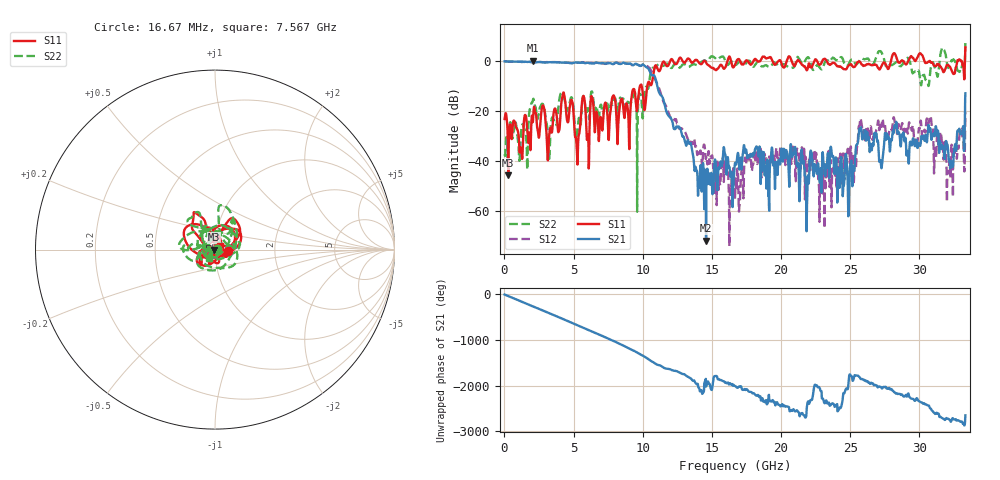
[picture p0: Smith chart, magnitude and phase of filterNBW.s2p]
# MHz MA S R 50.0
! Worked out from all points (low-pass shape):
!   2000 points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, 16.67 MHz to 33.33 GHz, reference 50 ohm
!   highest |S21| = 0.32 dB at 2.083 GHz (marker M1); lowest = -71.8 dB at 14.58 GHz (marker M2)
!   |S21| within 3 dB of the highest: start of sweep to 10.38 GHz
!   lowest |S11| = -45.6 dB at 283.3 MHz (marker M3), VSWR 1.01, Z = 49.5 + j0.0281 ohm
!   |S11| at or under -10 dB: start of sweep to 9.792 GHz; 9.936 GHz to 10.33 GHz (394.2 MHz wide, 3.89 % of centre)
!   |S22| runs from -60.2 to 8.4 dB; largest |S21 - S12| = 0.18
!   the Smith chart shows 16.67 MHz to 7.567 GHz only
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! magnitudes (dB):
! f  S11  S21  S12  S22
! 16.67 MHz  -23.1  0.0  0.0  -37.1
! 283.3 MHz  -45.6  -0.1  -0.1  -33.6
! 1.583 GHz  -22.7  -0.2  -0.2  -30.7
! 2.083 GHz  -22.3  0.3  0.5  -15.1
! 3.217 GHz  -31.7  -0.4  -0.3  -35.2
! 4.267 GHz  -12.4  -0.5  -0.4  -13.0
! 5.267 GHz  -39.2  -0.5  -0.5  -28.7
! 5.583 GHz  -18.0  -0.5  -0.4  -19.4
! 9.667 GHz  -15.1  -1.4  -1.3  -18.0
! 11.13 GHz  -3.7  -11.6  -10.1  -1.1
! 14.58 GHz  -0.4  -71.8  -38.7  0.0
! 16.68 GHz  -1.3  -40.6  -53.6  -1.4
! 20.85 GHz  -1.0  -37.1  -34.1  -2.6
! 21.87 GHz  -3.5  -61.0  -42.0  1.3
! 22.23 GHz  -2.3  -37.2  -38.4  -2.6
! 23.08 GHz  0.9  -41.3  -43.5  -1.7
! 25 GHz  -1.2  -41.5  -38.7  0.1
! 25.7 GHz  -0.1  -27.3  -24.5  0.6
! 27.78 GHz  -2.8  -30.2  -29.4  -1.8
! 30.7 GHz  0.0  -26.4  -24.0  -9.2
! 32.3 GHz  -3.1  -39.9  -35.4  -0.1
! 33.33 GHz  5.6  -12.8  -20.4  8.4
